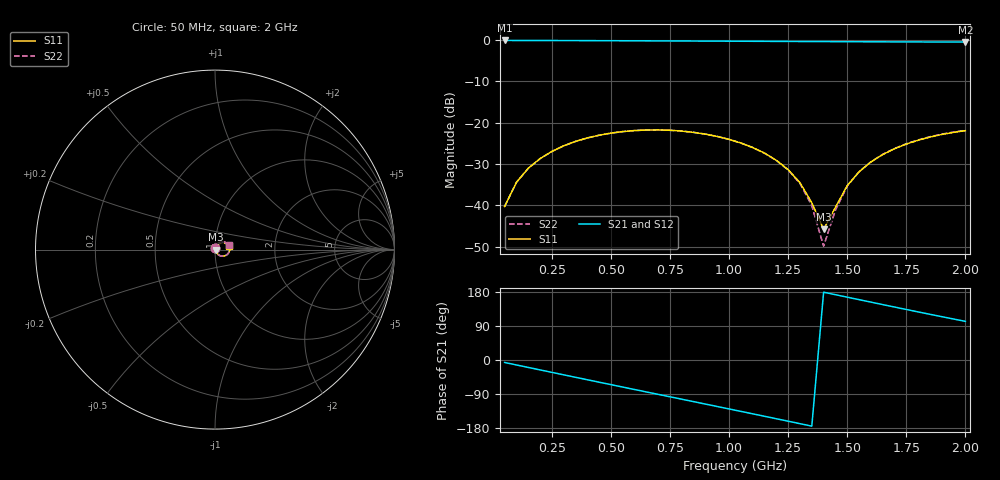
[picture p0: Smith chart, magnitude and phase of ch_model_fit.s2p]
! .MODEL  SMODEL ch_model S  TSTONEFILE=.\ch_model_fit.s2p  TYPE=SFMAX=  3e+11
! The above .MODEL line can be used for the S element in the netlist.
# Hz S RI R  50
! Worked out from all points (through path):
!   40 points, 50 MHz to 2 GHz, reference 50 ohm
!   highest |S21| = -0.07 dB at 50 MHz (marker M1); lowest = -0.4 dB at 2 GHz (marker M2)
!   group delay of S21, straight-line fit = 359 ps
!   lowest |S11| = -45.8 dB at 1.4 GHz (marker M3), VSWR 1.01, Z = 50.5 - j0.0614 ohm
!   |S11| at or under -10 dB: start of sweep to end of sweep
!   |S22| runs from -49.9 to -21.7 dB; largest |S21 - S12| = 0
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5e7  -0.000722 0.00965  0.9855 -0.113  0.9855 -0.113  -0.000711 0.00963
1e8  0.00248 0.0188  0.966 -0.2243  0.966 -0.2243  0.00248 0.0188
1.5e8  0.00762 0.027  0.9339 -0.3326  0.9339 -0.3326  0.00761 0.0269
2.5e8  0.0225 0.0389  0.8337 -0.534  0.8337 -0.534  0.0225 0.0388
4e8  0.0502 0.042  0.6065 -0.779  0.6065 -0.779  0.0501 0.042
5.5e8  0.0731 0.0275  0.3131 -0.9326  0.3131 -0.9326  0.073 0.0276
7e8  0.0818 0.0025  -0.0118 -0.9798  -0.0118 -0.9798  0.0817 0.00256
8.5e8  0.0732 -0.0219  -0.3323 -0.9177  -0.3323 -0.9177  0.0732 -0.022
9.5e8  0.0599 -0.0326  -0.5263 -0.8188  -0.5263 -0.8188  0.0598 -0.0328
1.05e9  0.0434 -0.0366  -0.6936 -0.6792  -0.6936 -0.6792  0.0431 -0.0369
1.15e9  0.027 -0.0332  -0.8256 -0.5054  -0.8256 -0.5054  0.0264 -0.0335
1.25e9  0.0139 -0.0232  -0.9155 -0.306  -0.9155 -0.306  0.0128 -0.0235
1.3e9  0.00925 -0.0164  -0.943 -0.1999  -0.943 -0.1999  0.00789 -0.0166
1.35e9  0.00628 -0.0087  -0.9583 -0.0912  -0.9583 -0.0912  0.00464 -0.00876
1.4e9  0.00508 -0.000607  -0.961 0.0185  -0.961 0.0185  0.00317 -0.000446
1.45e9  0.00569 0.00753  -0.9513 0.1278  -0.9513 0.1278  0.00351 0.00798
1.5e9  0.00809 0.0153  -0.9293 0.2351  -0.9293 0.2351  0.00566 0.0161
1.55e9  0.0121 0.0224  -0.8953 0.3389  -0.8953 0.3389  0.0095 0.0236
1.6e9  0.0177 0.0284  -0.8498 0.4379  -0.8498 0.4379  0.0149 0.0301
1.7e9  0.0321 0.0362  -0.728 0.6162  -0.728 0.6162  0.0291 0.0391
1.85e9  0.0571 0.0352  -0.4838 0.8189  -0.4838 0.8189  0.0545 0.04
2e9  0.0779 0.0191  -0.1975 0.9289  -0.1975 0.9289  0.0766 0.0259
